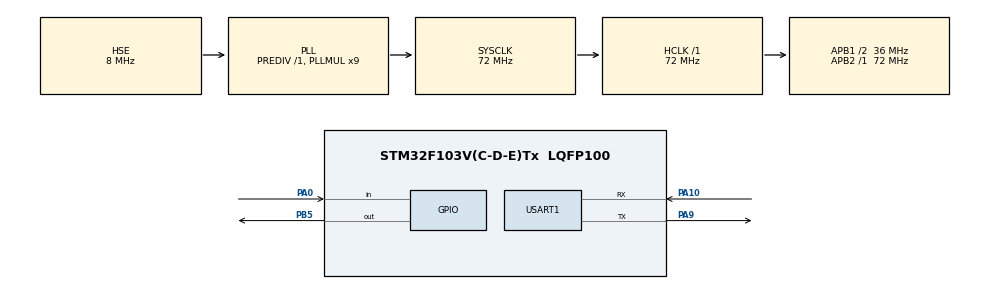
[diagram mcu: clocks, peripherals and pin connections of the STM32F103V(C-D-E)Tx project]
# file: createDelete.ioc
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FREERTOS.Tasks01=defaultTask,24,128,StartDefaultTask,Default,NULL,Dynamic,NULL,NULL
Mcu.Family=STM32F1
Mcu.Name=STM32F103V(C-D-E)Tx
Mcu.Package=LQFP100
NVIC.PriorityGroup=NVIC_PRIORITYGROUP_4
NVIC.TIM6_IRQn=true\:15\:0\:false\:false\:true\:false\:false\:true\:true
NVIC.TimeBase=TIM6_IRQn
NVIC.TimeBaseIP=TIM6
OSC_IN.Mode=HSE-External-Oscillator
OSC_IN.Signal=RCC_OSC_IN
OSC_OUT.Mode=HSE-External-Oscillator
OSC_OUT.Signal=RCC_OSC_OUT
PA0-WKUP.GPIO_PuPd=GPIO_PULLUP
PA0-WKUP.Signal=GPIO_Input
PA10.Mode=Asynchronous
PA10.Signal=USART1_RX
PA13.Mode=Serial_Wire
PA13.Signal=SYS_JTMS-SWDIO
PA14.Mode=Serial_Wire
PA14.Signal=SYS_JTCK-SWCLK
PA9.Mode=Asynchronous
PA9.Signal=USART1_TX
PB5.GPIO_PuPd=GPIO_PULLUP
PB5.GPIO_Speed=GPIO_SPEED_FREQ_HIGH
PB5.Signal=GPIO_Output
PC14-OSC32_IN.Mode=LSE-External-Oscillator
PC14-OSC32_IN.Signal=RCC_OSC32_IN
PC15-OSC32_OUT.Mode=LSE-External-Oscillator
PC15-OSC32_OUT.Signal=RCC_OSC32_OUT
ProjectManager.HeapSize=0x200
ProjectManager.StackSize=0x400
ProjectManager.TargetToolchain=MDK-ARM V5.32
RCC.AHBFreq_Value=72000000
RCC.APB1CLKDivider=RCC_HCLK_DIV2
RCC.APB1Freq_Value=36000000
RCC.APB1TimFreq_Value=72000000
RCC.APB2Freq_Value=72000000
RCC.APB2TimFreq_Value=72000000
RCC.HCLKFreq_Value=72000000
RCC.PLLMUL=RCC_PLL_MUL9
RCC.PLLSourceVirtual=RCC_PLLSOURCE_HSE
RCC.SYSCLKFreq_VALUE=72000000
RCC.SYSCLKSource=RCC_SYSCLKSOURCE_PLLCLK
RCC.USBFreq_Value=72000000
USART1.VirtualMode=VM_ASYNC
VP_FREERTOS_VS_CMSIS_V2.Mode=CMSIS_V2
VP_SYS_VS_tim6.Mode=TIM6
board=custom

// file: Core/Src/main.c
/* USER CODE BEGIN Header */
/**
  ******************************************************************************
  * @file           : main.c
  * @brief          : Main program body
  ******************************************************************************
  * @attention
  *
  * Copyright (c) 2025 STMicroelectronics.
  * All rights reserved.
  *
  * This software is licensed under terms that can be found in the LICENSE file
  * in the root directory of this software component.
  * If no LICENSE file comes with this software, it is provided AS-IS.
  *
  ******************************************************************************
  */
/* USER CODE END Header */
#include "main.h"
#include "cmsis_os.h"
#include "usart.h"
#include "gpio.h"

/* USER CODE BEGIN Includes */
#include "FreeRTOS.h"
#include "stdio.h"
/* USER CODE END Includes */

void SystemClock_Config(void);
void MX_FREERTOS_Init(void);

int main(void)
{

  /* MCU Configuration--------------------------------------------------------*/

  /* Reset of all peripherals, Initializes the Flash interface and the Systick. */
  HAL_Init();

  /* Configure the system clock */
  SystemClock_Config();

  /* Initialize all configured peripherals */
  MX_GPIO_Init();
  MX_USART1_UART_Init();
  /* USER CODE BEGIN 2 */

	printf("usart test\r\n");
  /* USER CODE END 2 */

  /* Init scheduler */
  osKernelInitialize();

  /* Call init function for freertos objects (in cmsis_os2.c) */
  MX_FREERTOS_Init();
	//vTaskStartScheduler();

  /* Start scheduler */
  osKernelStart();

  /* We should never get here as control is now taken by the scheduler */

  /* Infinite loop */
  while (1)
  {

  }
}

void SystemClock_Config(void)
{
  RCC_OscInitTypeDef RCC_OscInitStruct = {0};
  RCC_ClkInitTypeDef RCC_ClkInitStruct = {0};

  /** Initializes the RCC Oscillators according to the specified parameters
  * in the RCC_OscInitTypeDef structure.
  */
  RCC_OscInitStruct.OscillatorType = RCC_OSCILLATORTYPE_HSE;
  RCC_OscInitStruct.HSEState = RCC_HSE_ON;
  RCC_OscInitStruct.HSEPredivValue = RCC_HSE_PREDIV_DIV1;
  RCC_OscInitStruct.HSIState = RCC_HSI_ON;
  RCC_OscInitStruct.PLL.PLLState = RCC_PLL_ON;
  RCC_OscInitStruct.PLL.PLLSource = RCC_PLLSOURCE_HSE;
  RCC_OscInitStruct.PLL.PLLMUL = RCC_PLL_MUL9;
  if (HAL_RCC_OscConfig(&RCC_OscInitStruct) != HAL_OK)
  {
    Error_Handler();
  }

  /** Initializes the CPU, AHB and APB buses clocks
  */
  RCC_ClkInitStruct.ClockType = RCC_CLOCKTYPE_HCLK|RCC_CLOCKTYPE_SYSCLK
                              |RCC_CLOCKTYPE_PCLK1|RCC_CLOCKTYPE_PCLK2;
  RCC_ClkInitStruct.SYSCLKSource = RCC_SYSCLKSOURCE_PLLCLK;
  RCC_ClkInitStruct.AHBCLKDivider = RCC_SYSCLK_DIV1;
  RCC_ClkInitStruct.APB1CLKDivider = RCC_HCLK_DIV2;
  RCC_ClkInitStruct.APB2CLKDivider = RCC_HCLK_DIV1;

  if (HAL_RCC_ClockConfig(&RCC_ClkInitStruct, FLASH_LATENCY_2) != HAL_OK)
  {
    Error_Handler();
  }
}

void HAL_TIM_PeriodElapsedCallback(TIM_HandleTypeDef *htim)
{
  if (htim->Instance == TIM6) {
    HAL_IncTick();
  }
}

void Error_Handler(void)
{
  __disable_irq();
  while (1)
  {
  }
}

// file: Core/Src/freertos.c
/* USER CODE BEGIN Header */
/**
 ******************************************************************************
 * File Name          : freertos.c
 * Description        : Code for freertos applications
 ******************************************************************************
 * @attention
 *
 * Copyright (c) 2025 STMicroelectronics.
 * All rights reserved.
 *
 * This software is licensed under terms that can be found in the LICENSE file
 * in the root directory of this software component.
 * If no LICENSE file comes with this software, it is provided AS-IS.
 *
 ******************************************************************************
 */
/* USER CODE END Header */

#include "FreeRTOS.h"
#include "task.h"
#include "main.h"
#include "cmsis_os.h"

/* USER CODE BEGIN Includes */
#include "multi_button.h"
#include "buttonHandler.h"
#include "gpio.h"
#include "stdio.h"
#include "stdlib.h"
/* USER CODE END Includes */

/* USER CODE BEGIN PM */
extern uint8_t read_button_GPIO(uint8_t button_id);
/* USER CODE END PM */

/* USER CODE BEGIN Variables */
BaseType_t ret;
TaskHandle_t Task1_Handle = NULL;
TaskHandle_t Task2_Handle = NULL;
TaskHandle_t Task3_Handle = NULL;
TaskHandle_t stackoverflowTask_Handle = NULL;
TaskHandle_t KEY_TASK_Handle = NULL;

/* USER CODE END Variables */
/* Definitions for defaultTask */
osThreadId_t defaultTaskHandle;
const osThreadAttr_t defaultTask_attributes = {
    .name = "defaultTask",
    .stack_size = 128 * 4,
    .priority = (osPriority_t)osPriorityNormal,
};

/* USER CODE BEGIN FunctionPrototypes */
static void Task1(void *args);
static void Task2(void *args);
static void Task3(void *args);
static void stackoverflowTask(void *args);
static void KeyTask(void *args);

uint8_t read_button_GPIO(uint8_t button_id);
/* USER CODE END FunctionPrototypes */

void StartDefaultTask(void *argument);

void MX_FREERTOS_Init(void); /* (MISRA C 2004 rule 8.1) */

void MX_FREERTOS_Init(void)
{

    /* Create the thread(s) */
    /* creation of defaultTask */
    defaultTaskHandle = osThreadNew(StartDefaultTask, NULL, &defaultTask_attributes);

}

void StartDefaultTask(void *argument)
{
    /* USER CODE BEGIN StartDefaultTask */
//		ret = xTaskCreate((TaskFunction_t)Task1,
//              (const char *)"TASK1",
//              (configSTACK_DEPTH_TYPE)128,
//              (void *)NULL,
//              (UBaseType_t)osPriorityNormal,
//              (TaskHandle_t *)&Task1_Handle);
//		if(ret == pdPASS)printf("task1 create success.\r\n");
//		else printf("task1 create fail.\r\n");

//		xTaskCreate((TaskFunction_t)Task2,
//              (const char *)"TASK2",
//              (configSTACK_DEPTH_TYPE)128,
//              (void *)NULL,
//              (UBaseType_t)osPriorityNormal1,
//              (TaskHandle_t *)&Task2_Handle);
//			if(ret == pdPASS)printf("task2 create success.\r\n");
//		else printf("task2 create fail.\r\n");

//		xTaskCreate((TaskFunction_t)Task3,
//              (const char *)"TASK3",
//              (configSTACK_DEPTH_TYPE)128,
//              (void *)NULL,
//              (UBaseType_t)osPriorityNormal,
//              (TaskHandle_t *)&Task3_Handle);
//		if(ret == pdPASS)printf("task3 create success.\r\n");
//		else printf("task3 create fail.\r\n");

    xTaskCreate((TaskFunction_t)stackoverflowTask,
                (const char *)"stackoverflowTask",
                (configSTACK_DEPTH_TYPE)16,
                (void *)NULL,
                (UBaseType_t)osPriorityNormal1,
                (TaskHandle_t *)&stackoverflowTask_Handle);

//		xTaskCreate((TaskFunction_t)KeyTask,
//              (const char *)"TASK2",
//              (configSTACK_DEPTH_TYPE)128,
//              (void *)NULL,
//              (UBaseType_t)osPriorityNormal2,
//              (TaskHandle_t *)&KEY_TASK_Handle);
//    vTaskDelete(NULL);
    /* Infinite loop */
    while (1)
    {
    }
}

/* USER CODE END StartDefaultTask */

/* USER CODE BEGIN Application */
static void Task1(void *args)
{
    while (1)
    {
        taskENTER_CRITICAL();
        printf("Task1 running,Priority is osPriorityNormal\r\n");
        taskEXIT_CRITICAL();
        vTaskDelay(500);
    }
}

static void Task2(void *args)
{
    while (1)
    {
        taskENTER_CRITICAL();
        printf("Task2 running,Priority is osPriorityNormal1\r\n");
        taskEXIT_CRITICAL();
        vTaskDelay(500);
    }
}

static void Task3(void *args)
{
    while (1)
    {
        taskENTER_CRITICAL();
        printf("Task3 running,Priority is osPriorityNormal\r\n");
        taskEXIT_CRITICAL();
        vTaskDelay(500);
    }
}

static void stackoverflowTask(void *args)
{
		taskENTER_CRITICAL();
    printf("stackoverflow Task running\r\n");
		taskEXIT_CRITICAL();
    int arr[100000]= {0};
    while(1) {
		printf("stack safe\r\n");
		vTaskDelay(500);
    }
}

static void KeyTask(void *args)
{
    /*1.申请按键结构*/
    taskENTER_CRITICAL();
    struct Button btn1;
    struct Button btn2;
    uint8_t btn1_id = 0;
    uint8_t btn2_id = 1;
    /*2.初始化按键*/
    button_init(&btn1, read_button_GPIO, 0, btn1_id);
    button_init(&btn2, read_button_GPIO, 0, btn2_id);
    /*3.注册按键事件*/
    button_attach(&btn1, PRESS_DOWN, Callback_SINGLE_CLICK_btn1Handler);
    button_attach(&btn2, PRESS_DOWN, Callback_SINGLE_CLICK_btn2Handler);
    /*4.启动按键*/
    button_start(&btn1);
    button_start(&btn2);
    taskEXIT_CRITICAL();
    while (1)
    {
        /*5.设置5ms间隔的定时器循环调用后台处理函数*/
        button_ticks();
        vTaskDelay(5);
    }
}

/* USER CODE END Application */
